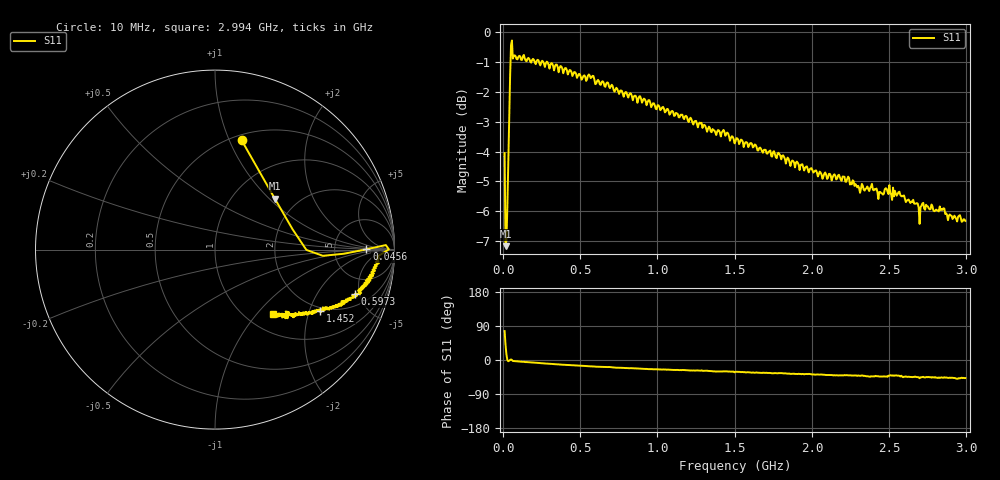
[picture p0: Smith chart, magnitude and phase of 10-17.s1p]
# HZ S RI R 50
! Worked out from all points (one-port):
!   504 points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, 10 MHz to 2.994 GHz, reference 50 ohm
!   lowest |S11| = -7.2 dB at 15.93 MHz (marker M1), VSWR 2.56, Z = 76.9 + j54.1 ohm
!   |S11| at or under -10 dB: nowhere
!   S11 on the Smith chart (normalised r, x): 10 MHz: 0.55, +1.11; 45.6 MHz: 12, +0; 597.3 MHz: 3.04, -4.53; 1.452 GHz: 1.89, -2.38; 2.994 GHz: 1.32, -1.22
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1e7  0.1482 0.6095
1.593254e7  0.333 0.2841
2.186508e7  0.4328 0.1124
2.779762e7  0.5092 -0.00173
3.373016e7  0.6007 -0.0345
4.559524e7  0.8436 0.00174
5.746032e7  0.969 0.000997
6.339286e7  0.9026 -0.0401
7.525794e7  0.9136 -0.0485
1.52381e8  0.89 -0.0854
3.8375e8  0.8496 -0.1846
5.973215e8  0.7807 -0.246
7.575e8  0.7476 -0.2783
1.13125e9  0.6538 -0.3233
1.374484e9  0.5861 -0.3437
1.451607e9  0.5877 -0.34
1.505e9  0.5611 -0.3405
1.87875e9  0.4885 -0.3624
2.2525e9  0.4228 -0.3649
2.442341e9  0.3904 -0.3728
2.477937e9  0.396 -0.378
2.507599e9  0.4105 -0.3475
2.549127e9  0.4038 -0.3463
2.62625e9  0.3757 -0.3655
2.697441e9  0.3184 -0.3553
2.750833e9  0.3582 -0.3636
2.934742e9  0.319 -0.3672
2.994068e9  0.3248 -0.3569
